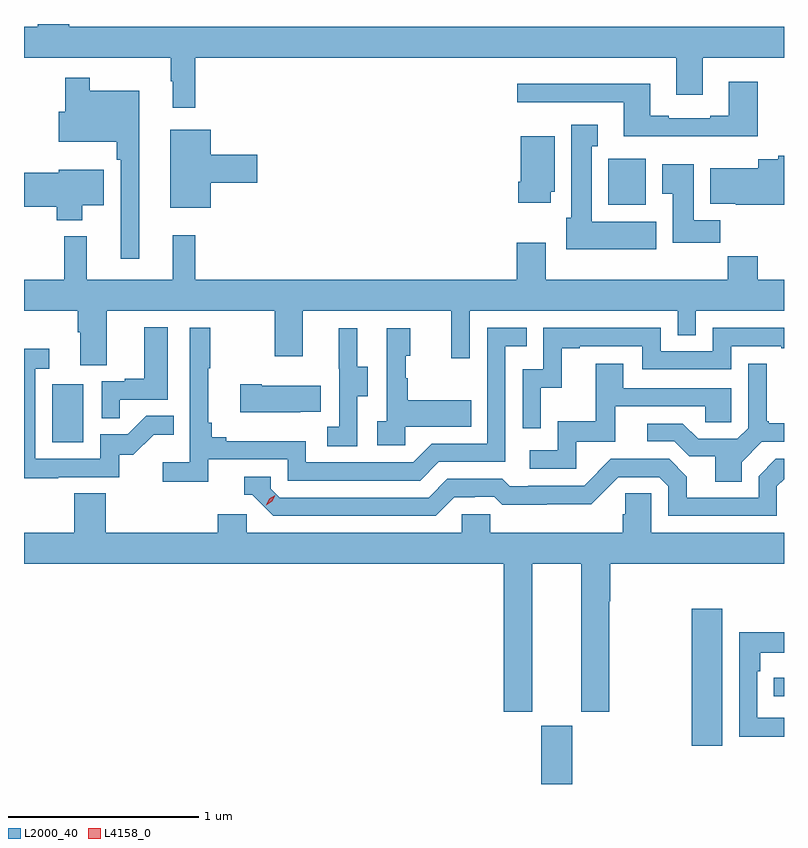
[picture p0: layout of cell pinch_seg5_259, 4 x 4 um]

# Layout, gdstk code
import gdstk
lib = gdstk.Library(unit=1e-6, precision=1e-09)
def R(c, l, rs):  # rectangles x0, y0, x1, y1
    for r in rs: c.add(gdstk.rectangle(r[:2], r[2:], *l))
def P(c, l, *ps):  # polygons
    for p in ps: c.add(gdstk.Polygon(p, *l))
L2000_40 = (2000, 40)
L4158_0 = (4158, 0)

pinch_seg5_259 = lib.new_cell('pinch_seg5_259')
R(pinch_seg5_259, L2000_40, [(900.716,904.886,900.88,905.193), (901.508,905.088,901.669,905.809), (901.941,905.349,901.994,905.445), (898.142,906.684,898.306,906.991), (901.07,907.934,901.267,908.176)])
P(pinch_seg5_259, L2000_40, [(898.232,908.886),(898.067,908.886),(898.067,908.872),(897.994,908.872),(897.994,908.708),(898.767,908.708),(898.767,908.585),(898.778,908.585),(898.778,908.445),(898.895,908.445),(898.895,908.708),(901.427,908.708),(901.427,908.514),(901.567,908.514),(901.567,908.708),(901.994,908.708),(901.994,908.872),(898.232,908.872)],
  [(898.6,908.536),(898.339,908.536),(898.339,908.602),(898.21,908.602),(898.21,908.425),(898.176,908.425),(898.176,908.267),(898.483,908.267),(898.483,908.171),(898.503,908.171),(898.503,907.65),(898.6,907.65)],
  [(901.856,908.581),(901.703,908.581),(901.703,908.404),(901.607,908.404),(901.607,908.391),(901.387,908.391),(901.387,908.404),(901.291,908.404),(901.291,908.572),(900.591,908.572),(900.591,908.475),(901.151,908.475),(901.151,908.294),(901.856,908.294)],
  [(901.321,907.846),(900.982,907.846),(900.982,908.243),(901.015,908.243),(901.015,908.356),(900.875,908.356),(900.875,907.866),(900.848,907.866),(900.848,907.7),(901.321,907.7)],
  [(898.978,908.051),(899.221,908.051),(899.221,908.198),(898.978,908.198),(898.978,908.329),(898.763,908.329),(898.763,907.919),(898.978,907.919)],
  [(900.766,908.004),(900.787,908.004),(900.787,908.296),(900.608,908.296),(900.608,908.056),(900.596,908.056),(900.596,907.944),(900.766,907.944)],
  [(901.994,908.192),(901.963,908.192),(901.963,908.173),(901.859,908.173),(901.859,908.128),(901.607,908.128),(901.607,907.94),(901.74,907.94),(901.74,907.934),(901.994,907.934)],
  [(901.658,907.852),(901.519,907.852),(901.519,908.149),(901.352,908.149),(901.352,907.993),(901.409,907.993),(901.409,907.734),(901.658,907.734)],
  [(898.3,907.931),(898.414,907.931),(898.414,908.119),(898.178,908.119),(898.178,908.102),(897.994,908.102),(897.994,907.924),(898.166,907.924),(898.166,907.853),(898.3,907.853)],
  [(898.429,907.376),(899.314,907.376),(899.314,907.137),(899.461,907.137),(899.461,907.376),(900.242,907.376),(900.242,907.128),(900.339,907.128),(900.339,907.376),(901.434,907.376),(901.434,907.249),(901.53,907.249),(901.53,907.376),(901.994,907.376),(901.994,907.54),(901.856,907.54),(901.856,907.664),(901.699,907.664),(901.699,907.54),(900.739,907.54),(900.739,907.735),(900.587,907.735),(900.587,907.54),(898.895,907.54),(898.895,907.774),(898.778,907.774),(898.778,907.54),(898.325,907.54),(898.325,907.768),(898.207,907.768),(898.207,907.54),(897.994,907.54),(897.994,907.376),(898.277,907.376),(898.277,907.264),(898.289,907.264),(898.289,907.09),(898.429,907.09)],
  [(898.499,906.909),(898.75,906.909),(898.75,907.291),(898.628,907.291),(898.628,907.018),(898.525,907.018),(898.525,907.005),(898.404,907.005),(898.404,906.811),(898.499,906.811)],
  [(898.964,906.594),(899.382,906.594),(899.382,906.483),(900.079,906.483),(900.178,906.582),(900.528,906.582),(900.528,907.191),(900.641,907.191),(900.641,907.287),(900.432,907.287),(900.432,906.678),(900.141,906.678),(900.042,906.579),(899.478,906.579),(899.478,906.691),(899.059,906.691),(899.059,906.71),(898.982,906.71),(898.982,906.787),(898.963,906.787),(898.963,907.075),(898.975,907.075),(898.975,907.288),(898.866,907.288),(898.866,906.58),(898.725,906.58),(898.725,906.478),(898.964,906.478)],
  [(900.714,906.971),(900.824,906.971),(900.824,907.179),(900.919,907.179),(900.919,907.191),(901.248,907.191),(901.248,907.068),(901.716,907.068),(901.716,907.191),(901.979,907.191),(901.979,907.179),(901.994,907.179),(901.994,907.287),(901.62,907.287),(901.62,907.164),(901.344,907.164),(901.344,907.287),(900.726,907.287),(900.726,907.068),(900.618,907.068),(900.618,906.759),(900.714,906.759)],
  [(900,906.767),(900.347,906.767),(900.347,906.907),(900.013,906.907),(900.013,907.022),(900.003,907.022),(900.003,907.14),(900.028,907.14),(900.028,907.285),(899.904,907.285),(899.904,906.794),(899.853,906.794),(899.853,906.669),(900,906.669)],
  [(899.748,906.928),(899.803,906.928),(899.803,907.083),(899.749,907.083),(899.749,907.285),(899.651,907.285),(899.651,907.071),(899.652,907.071),(899.652,906.767),(899.589,906.767),(899.589,906.664),(899.748,906.664)],
  [(898.175,906.501),(898.494,906.501),(898.494,906.618),(898.57,906.618),(898.677,906.725),(898.781,906.725),(898.781,906.824),(898.638,906.824),(898.54,906.726),(898.395,906.726),(898.395,906.597),(898.053,906.597),(898.053,907.071),(898.126,907.071),(898.126,907.177),(897.994,907.177),(897.994,906.496),(898.175,906.496)],
  [(900.9,906.687),(901.105,906.687),(901.105,906.873),(901.579,906.873),(901.579,906.789),(901.716,906.789),(901.716,906.969),(901.147,906.969),(901.147,907.099),(901.003,907.099),(901.003,906.796),(900.804,906.796),(900.804,906.642),(900.657,906.642),(900.657,906.546),(900.9,906.546)],
  [(901.771,906.58),(901.878,906.687),(901.994,906.687),(901.994,906.784),(901.915,906.784),(901.915,906.796),(901.903,906.796),(901.903,907.099),(901.806,907.099),(901.806,906.759),(901.749,906.702),(901.543,906.702),(901.462,906.783),(901.275,906.783),(901.275,906.69),(901.416,906.69),(901.496,906.61),(901.631,906.61),(901.631,906.478),(901.771,906.478)],
  [(899.447,906.845),(899.555,906.845),(899.555,906.982),(899.245,906.982),(899.245,906.99),(899.133,906.99),(899.133,906.842),(899.447,906.842)],
  [(900.259,906.396),(900.366,906.396),(900.366,906.399),(900.469,906.399),(900.511,906.357),(900.744,906.357),(900.744,906.359),(900.98,906.359),(901.122,906.501),(901.338,906.501),(901.386,906.453),(901.386,906.297),(901.956,906.297),(901.956,906.453),(901.994,906.491),(901.994,906.597),(901.95,906.597),(901.86,906.507),(901.86,906.393),(901.483,906.393),(901.483,906.503),(901.389,906.597),(901.083,906.597),(900.942,906.456),(900.649,906.456),(900.649,906.453),(900.55,906.453),(900.511,906.492),(900.222,906.492),(900.123,906.393),(899.34,906.393),(899.292,906.441),(899.292,906.504),(899.153,906.504),(899.153,906.408),(899.196,906.408),(899.307,906.297),(900.16,906.297)],
  [(901.994,906.208),(901.296,906.208),(901.296,906.416),(901.159,906.416),(901.159,906.306),(901.145,906.306),(901.145,906.208),(900.447,906.208),(900.447,906.306),(900.297,906.306),(900.297,906.208),(899.166,906.208),(899.166,906.306),(899.015,906.306),(899.015,906.208),(898.424,906.208),(898.424,906.416),(898.259,906.416),(898.259,906.208),(897.994,906.208),(897.994,906.044),(900.518,906.044),(900.518,905.265),(900.67,905.265),(900.67,906.044),(900.926,906.044),(900.926,905.265),(901.074,905.265),(901.074,905.848),(901.079,905.848),(901.079,906.044),(901.994,906.044)],
  [(901.994,905.235),(901.854,905.235),(901.854,905.48),(901.868,905.48),(901.868,905.576),(901.994,905.576),(901.994,905.686),(901.758,905.686),(901.758,905.134),(901.994,905.134)])
P(pinch_seg5_259, L4158_0, [(899.269,906.354),(899.269,906.355),(899.286,906.387),(899.316,906.406),(899.317,906.406),(899.317,906.406),(899.3,906.374),(899.27,906.354)])

lib.write_gds('pinch_seg5_259.gds')
